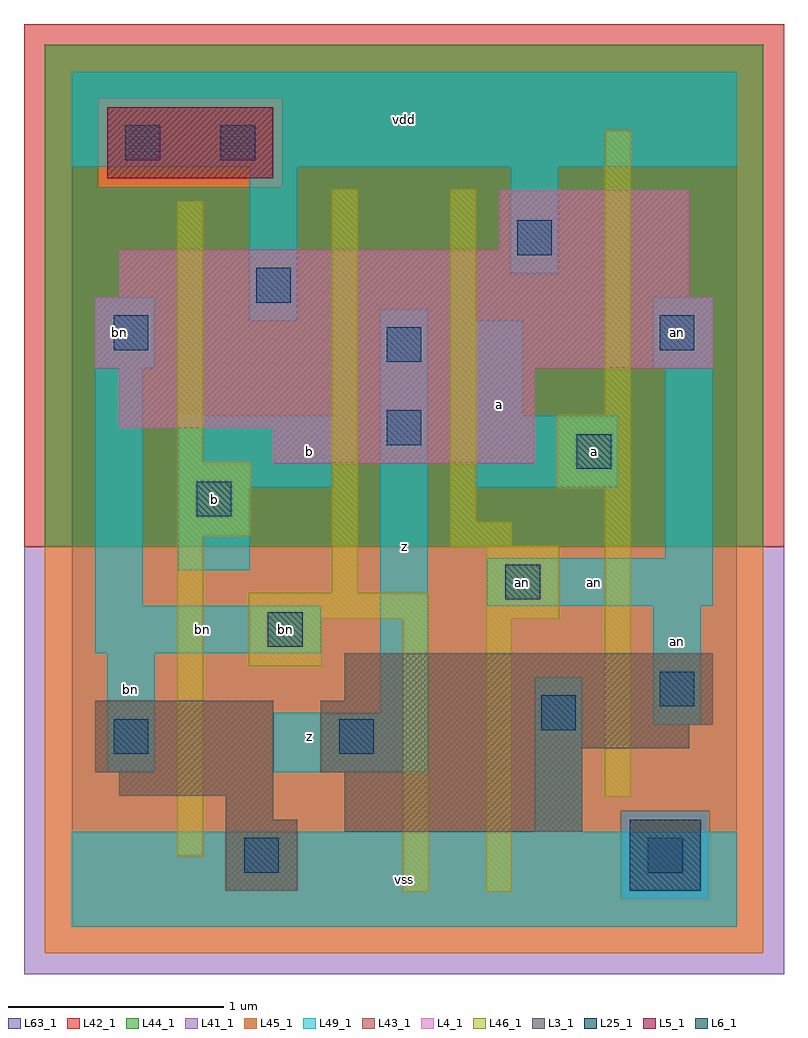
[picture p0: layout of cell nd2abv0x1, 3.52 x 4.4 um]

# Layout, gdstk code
import gdstk
lib = gdstk.Library(unit=1e-6, precision=1e-09)
def R(c, l, rs):  # rectangles x0, y0, x1, y1
    for r in rs: c.add(gdstk.rectangle(r[:2], r[2:], *l))
L3_1 = (3, 1)
L4_1 = (4, 1)
L5_1 = (5, 1)
L6_1 = (6, 1)
L25_1 = (25, 1)
L41_1 = (41, 1)
L42_1 = (42, 1)
L43_1 = (43, 1)
L44_1 = (44, 1)
L45_1 = (45, 1)
L46_1 = (46, 1)
L49_1 = (49, 1)
L63_1 = (63, 1)

nd2abv0x1 = lib.new_cell('nd2abv0x1')
R(nd2abv0x1, L3_1, [(0.715,0.165,1.045,0.495), (1.265,0.44,2.365,0.715), (0.715,0.495,0.935,0.605), (0.22,0.605,0.935,0.715), (0.11,0.715,0.935,1.045), (1.155,0.715,2.365,0.825), (1.155,0.825,2.86,0.935), (1.155,0.935,2.97,1.045), (1.265,1.045,2.97,1.265)])
R(nd2abv0x1, L4_1, [(0.935,2.145,2.145,2.31), (0.22,2.31,2.145,2.585), (0.11,2.585,2.97,2.915), (0.22,2.915,2.86,3.135), (1.98,3.135,2.86,3.41)])
R(nd2abv0x1, L5_1, [(0.165,3.465,0.935,3.795)])
R(nd2abv0x1, L6_1, [(2.585,0.165,2.915,0.495)])
R(nd2abv0x1, L25_1, [(0.8,0.25,0.96,0.41), (2.67,0.25,2.83,0.41), (0.195,0.8,0.355,0.96), (1.24,0.8,1.4,0.96), (2.175,0.91,2.335,1.07), (2.725,1.02,2.885,1.18), (0.91,1.295,1.07,1.455), (2.01,1.515,2.17,1.675), (0.58,1.9,0.74,2.06), (2.34,2.12,2.5,2.28), (1.46,2.23,1.62,2.39), (1.46,2.615,1.62,2.775), (0.195,2.67,0.355,2.83), (2.725,2.67,2.885,2.83), (0.855,2.89,1.015,3.05), (2.065,3.11,2.225,3.27), (0.25,3.55,0.41,3.71), (0.69,3.55,0.85,3.71)])
R(nd2abv0x1, L41_1, [(-0.22,-0.22,3.3,1.76)])
R(nd2abv0x1, L42_1, [(-0.22,1.76,3.3,4.18)])
R(nd2abv0x1, L43_1, [(0.715,0.165,1.045,0.495), (2.585,0.165,2.915,0.495), (1.265,0.44,2.365,0.715), (0.715,0.495,0.935,0.605), (0.22,0.605,0.935,0.715), (0.11,0.715,0.935,1.045), (1.155,0.715,2.365,0.825), (1.155,0.825,2.86,0.935), (1.155,0.935,2.97,1.045), (1.265,1.045,2.97,1.265), (0.935,2.145,2.145,2.31), (0.22,2.31,2.145,2.585), (0.11,2.585,2.97,2.915), (0.22,2.915,2.86,3.135), (1.98,3.135,2.86,3.41), (0.165,3.465,0.935,3.795)])
R(nd2abv0x1, L44_1, [(2.545,0.125,2.955,0.535), (-0.125,1.76,3.205,3.425), (-0.125,3.425,0.125,3.835), (0.975,3.425,3.205,3.835), (-0.125,3.835,3.205,4.085)])
R(nd2abv0x1, L45_1, [(-0.125,-0.125,3.205,0.125), (-0.125,0.125,2.545,0.535), (2.955,0.125,3.205,0.535), (-0.125,0.535,3.205,1.76), (0.125,3.425,0.975,3.835)])
R(nd2abv0x1, L46_1, [(1.535,0.16,1.655,1.425), (1.92,0.16,2.04,1.425), (0.49,0.325,0.61,1.81), (2.47,0.6,2.59,2.03), (0.82,1.205,1.16,1.425), (0.82,1.425,1.655,1.545), (1.92,1.425,2.26,1.755), (1.205,1.545,1.325,3.415), (1.755,1.755,2.26,1.765), (1.755,1.765,2.04,1.875), (0.49,1.81,0.83,2.15), (1.755,1.875,1.875,3.415), (2.25,2.03,2.59,2.37), (0.49,2.15,0.61,3.36), (2.47,2.37,2.59,3.69)])
R(nd2abv0x1, L49_1, [(0,0,3.08,0.44), (2.145,0.44,2.365,1.155), (0.165,0.715,0.385,1.265), (0.935,0.715,1.65,0.99), (2.695,0.935,2.915,1.485), (1.43,0.99,1.65,2.86), (0.11,1.265,1.155,1.485), (0.11,1.485,0.33,2.585), (1.925,1.485,2.97,1.705), (0.495,1.65,0.825,2.035), (2.75,1.705,2.97,2.585), (0.495,2.035,1.21,2.365), (1.87,2.035,2.53,2.365), (1.87,2.365,2.09,2.805), (0.11,2.585,0.385,2.915), (2.695,2.585,2.97,2.915), (0.825,2.805,1.045,3.52), (2.035,3.025,2.255,3.52), (0,3.52,3.08,3.96)])
R(nd2abv0x1, L63_1, [(0,0,3.08,3.96)])
nd2abv0x1.add(gdstk.Label('bn', (0.99,1.375), layer=49, texttype=1))
nd2abv0x1.add(gdstk.Label('an', (2.09,1.595), layer=49, texttype=1))
nd2abv0x1.add(gdstk.Label('bn', (0.275,1.1), layer=49, texttype=1))
nd2abv0x1.add(gdstk.Label('bn', (0.22,2.75), layer=49, texttype=1))
nd2abv0x1.add(gdstk.Label('z', (1.1,0.88), layer=49, texttype=1))
nd2abv0x1.add(gdstk.Label('bn', (0.605,1.375), layer=49, texttype=1))
nd2abv0x1.add(gdstk.Label('b', (1.1,2.2), layer=49, texttype=1))
nd2abv0x1.add(gdstk.Label('b', (0.66,1.98), layer=49, texttype=1))
nd2abv0x1.add(gdstk.Label('vss', (1.54,0.22), layer=49, texttype=1))
nd2abv0x1.add(gdstk.Label('z', (1.54,1.76), layer=49, texttype=1))
nd2abv0x1.add(gdstk.Label('a', (1.98,2.42), layer=49, texttype=1))
nd2abv0x1.add(gdstk.Label('vdd', (1.54,3.74), layer=49, texttype=1))
nd2abv0x1.add(gdstk.Label('an', (2.805,1.32), layer=49, texttype=1))
nd2abv0x1.add(gdstk.Label('an', (2.42,1.595), layer=49, texttype=1))
nd2abv0x1.add(gdstk.Label('a', (2.42,2.2), layer=49, texttype=1))
nd2abv0x1.add(gdstk.Label('an', (2.805,2.75), layer=49, texttype=1))

lib.write_gds('nd2abv0x1.gds')
